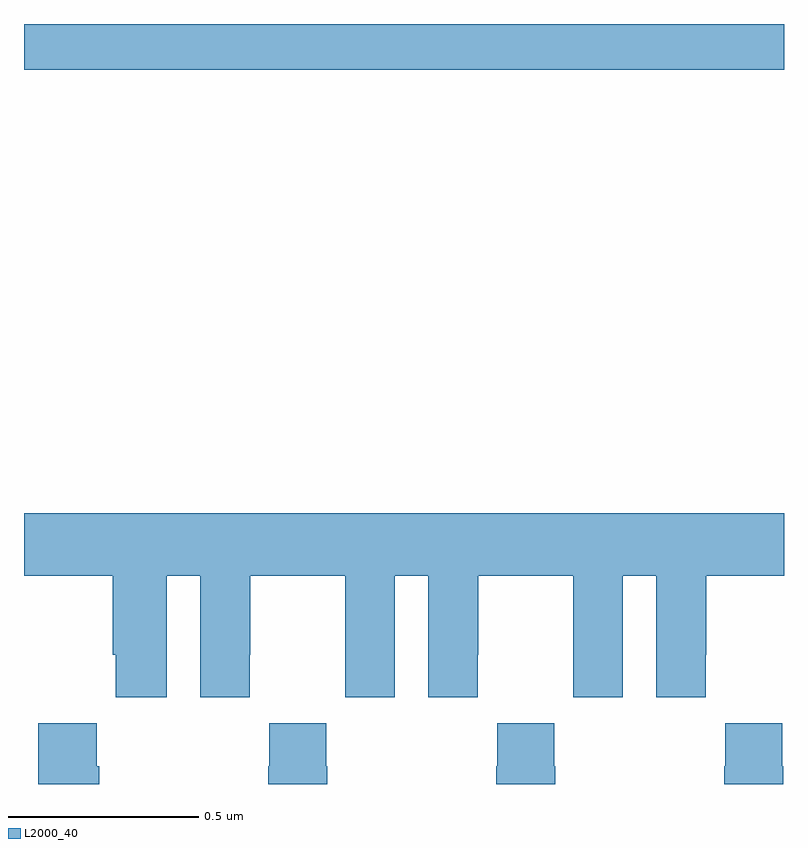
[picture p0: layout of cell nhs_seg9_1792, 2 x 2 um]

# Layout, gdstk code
import gdstk
lib = gdstk.Library(unit=1e-6, precision=1e-09)
def R(c, l, rs):  # rectangles x0, y0, x1, y1
    for r in rs: c.add(gdstk.rectangle(r[:2], r[2:], *l))
def P(c, l, *ps):  # polygons
    for p in ps: c.add(gdstk.Polygon(p, *l))
L2000_40 = (2000, 40)

nhs_seg9_1792 = lib.new_cell('nhs_seg9_1792')
R(nhs_seg9_1792, L2000_40, [(132,1236.38,134,1236.5)])
P(nhs_seg9_1792, L2000_40, [(132.376,1235.048),(132.464,1235.048),(132.464,1234.728),(132.594,1234.728),(132.594,1234.84),(132.595,1234.84),(132.595,1235.048),(132.845,1235.048),(132.845,1234.84),(132.846,1234.84),(132.846,1234.728),(132.976,1234.728),(132.976,1235.048),(133.064,1235.048),(133.064,1234.728),(133.194,1234.728),(133.194,1234.84),(133.195,1234.84),(133.195,1235.048),(133.445,1235.048),(133.445,1234.84),(133.446,1234.84),(133.446,1234.728),(133.576,1234.728),(133.576,1235.048),(133.664,1235.048),(133.664,1234.728),(133.794,1234.728),(133.794,1234.84),(133.795,1234.84),(133.795,1235.048),(134,1235.048),(134,1235.212),(132,1235.212),(132,1235.048),(132.233,1235.048),(132.233,1234.84),(132.242,1234.84),(132.242,1234.728),(132.376,1234.728)],
  [(133.398,1234.547),(133.395,1234.547),(133.395,1234.66),(133.245,1234.66),(133.245,1234.547),(133.243,1234.547),(133.243,1234.5),(133.398,1234.5)],
  [(132.198,1234.547),(132.191,1234.547),(132.191,1234.66),(132.038,1234.66),(132.038,1234.5),(132.198,1234.5)],
  [(132.798,1234.547),(132.795,1234.547),(132.795,1234.66),(132.645,1234.66),(132.645,1234.547),(132.643,1234.547),(132.643,1234.5),(132.798,1234.5)],
  [(133.998,1234.547),(133.995,1234.547),(133.995,1234.66),(133.845,1234.66),(133.845,1234.547),(133.843,1234.547),(133.843,1234.5),(133.998,1234.5)])

lib.write_gds('nhs_seg9_1792.gds')
